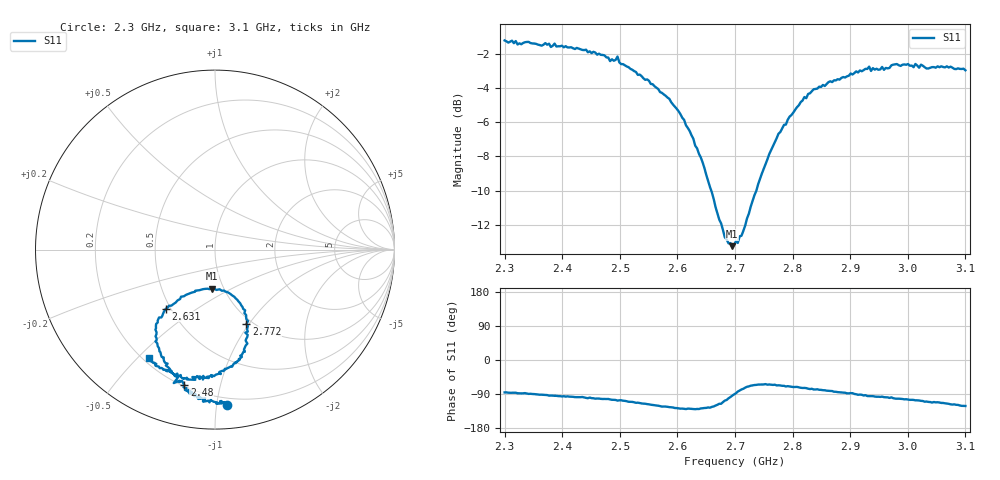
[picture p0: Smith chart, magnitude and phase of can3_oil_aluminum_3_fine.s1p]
# MHz S MA R 50
!  freq  S11
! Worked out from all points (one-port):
!   250 points, 2.3 GHz to 3.1 GHz, reference 50 ohm
!   lowest |S11| = -13.2 dB at 2.695 GHz (marker M1), VSWR 1.56, Z = 44.2 - j20.1 ohm
!   |S11| at or under -10 dB: 2.659 GHz to 2.737 GHz (78.34 MHz wide, 2.9 % of centre)
!   S11 on the Smith chart (normalised r, x): 2.3 GHz: 0.15, -1.07; 2.48 GHz: 0.21, -0.78; 2.631 GHz: 0.47, -0.38; 2.772 GHz: 0.94, -0.97; 3.1 GHz: 0.22, -0.54
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2300  0.8671 -85.5
2335.341  0.8568 -87.4
2377.108  0.8485 -94.1
2402.811  0.8282 -95.6
2434.94  0.8138 -97.6
2444.578  0.801 -100.8
2447.791  0.8061 -99.2
2457.43  0.7994 -102.1
2479.92  0.7731 -102.8
2495.984  0.7784 -107.2
2502.41  0.7397 -106.2
2573.092  0.6098 -123.0
2602.008  0.5391 -127.6
2630.924  0.4275 -129.8
2682.329  0.2311 -107.2
2695.181  0.2177 -94.1
2701.606  0.2249 -87.8
2711.245  0.2336 -77.7
2740.161  0.3301 -64.9
2772.289  0.4496 -67.0
2801.205  0.534 -71.4
2836.546  0.6249 -77.8
2900.803  0.6944 -87.3
2929.719  0.7161 -95.0
2971.486  0.7338 -98.6
2977.912  0.7385 -101.8
3000.402  0.74 -104.3
3100  0.7097 -121.3
